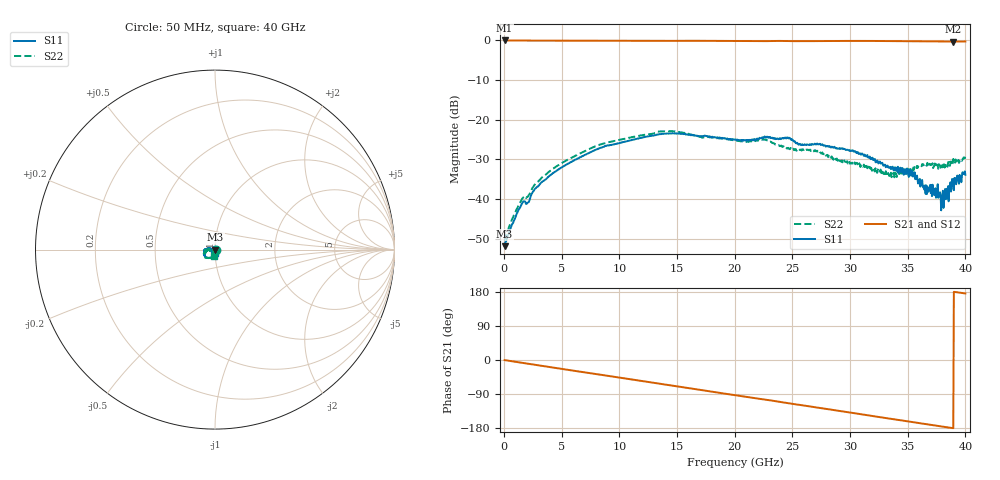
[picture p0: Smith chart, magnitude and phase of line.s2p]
!Keysight Technologies,N5247B,MY61255062,A.15.50.07
!Date: Thursday, February 13, 2025 12:44:19
!Correction: S11(C  2-Port  )
!S21(C  2-Port  )
!S12(C  2-Port  )
!S22(C  2-Port  )
!S2P File: Measurements: S11, S21, S12, S22:
# Hz S  MA  R 50
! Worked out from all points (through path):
!   800 points, 50 MHz to 40 GHz, reference 50 ohm
!   highest |S21| = -0.02 dB at 50 MHz (marker M1); lowest = -0.3 dB at 38.95 GHz (marker M2)
!   group delay of S21, straight-line fit = 12.8 ps
!   lowest |S11| = -51.9 dB at 50 MHz (marker M3), VSWR 1.01, Z = 50.2 + j0.0489 ohm
!   |S11| at or under -10 dB: start of sweep to end of sweep
!   |S22| runs from -50.6 to -22.9 dB; largest |S21 - S12| = 0.0014
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5e7  0.00254 11.0  0.9973 -0.3  0.9972 -0.3  0.002956 3.8
1.4e9  0.007824 -59.6  0.9946 -6.7  0.9947 -6.7  0.009064 -61.6
2.1e9  0.009089 -72.4  0.993 -9.9  0.993 -9.9  0.01097 -73.5
2.7e9  0.01351 -74.9  0.9931 -12.7  0.9934 -12.7  0.01538 -77.0
4.4e9  0.02194 -88.6  0.9917 -20.6  0.9918 -20.6  0.02487 -90.9
6.75e9  0.03434 -101.1  0.9879 -31.6  0.9878 -31.6  0.03844 -103.6
8.8e9  0.04681 -112.7  0.9855 -40.9  0.9853 -40.9  0.05079 -116.0
1.34e10  0.06501 -137.6  0.984 -62.0  0.9838 -62.0  0.07074 -140.9
1.675e10  0.06235 -157.6  0.9875 -77.6  0.9873 -77.6  0.06202 -162.6
2.005e10  0.05614 -164.3  0.9824 -93.0  0.9821 -93.0  0.05466 -167.8
2.27e10  0.06012 -166.9  0.978 -104.8  0.9777 -104.8  0.05598 -175.0
2.455e10  0.05962 -176.2  0.9812 -113.7  0.9809 -113.7  0.04312 -177.1
2.57e10  0.04814 -178.4  0.9777 -118.8  0.9774 -118.8  0.04155 -173.7
2.67e10  0.04925 -177.6  0.9785 -123.3  0.9781 -123.3  0.04086 -178.2
3.03e10  0.03966 172.2  0.9838 -140.0  0.9835 -140.0  0.02821 -172.0
3.335e10  0.0247 174.7  0.9803 -154.4  0.98 -154.4  0.02054 -153.1
3.54e10  0.02243 -179.6  0.9756 -163.9  0.9755 -163.9  0.02428 -128.6
3.655e10  0.0116 -162.9  0.9748 -169.2  0.9745 -169.3  0.02711 -123.0
3.76e10  0.01534 -142.5  0.9701 -174.0  0.9697 -174.1  0.02658 -119.4
3.8e10  0.009343 -135.1  0.9684 -175.8  0.9682 -175.9  0.02506 -110.8
3.895e10  0.0164 -102.8  0.9648 -179.9  0.9645 -179.9  0.03202 -107.8
4e10  0.02011 -96.1  0.9682 175.5  0.9682 175.5  0.03506 -97.4
